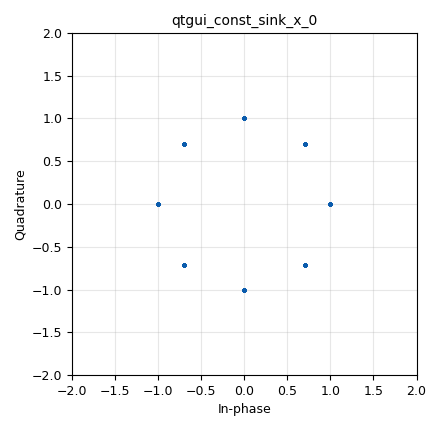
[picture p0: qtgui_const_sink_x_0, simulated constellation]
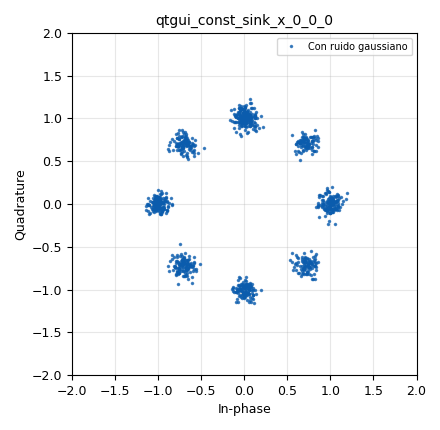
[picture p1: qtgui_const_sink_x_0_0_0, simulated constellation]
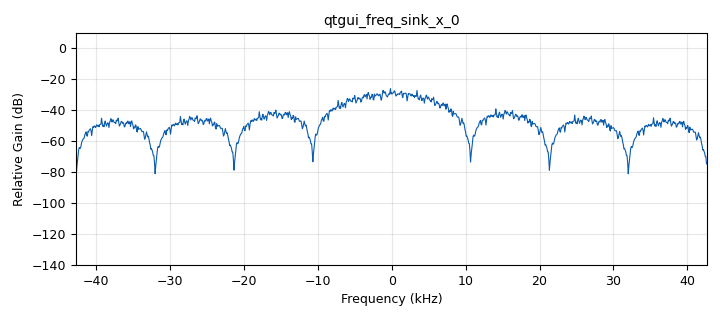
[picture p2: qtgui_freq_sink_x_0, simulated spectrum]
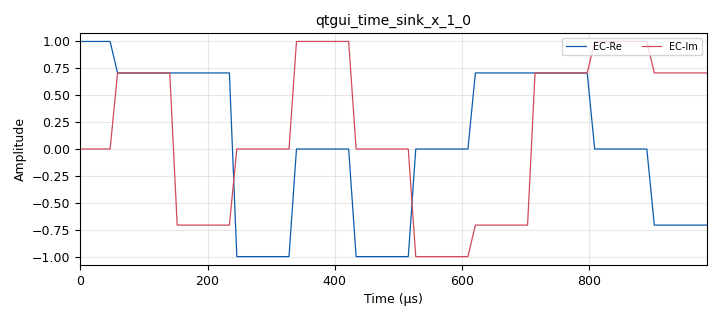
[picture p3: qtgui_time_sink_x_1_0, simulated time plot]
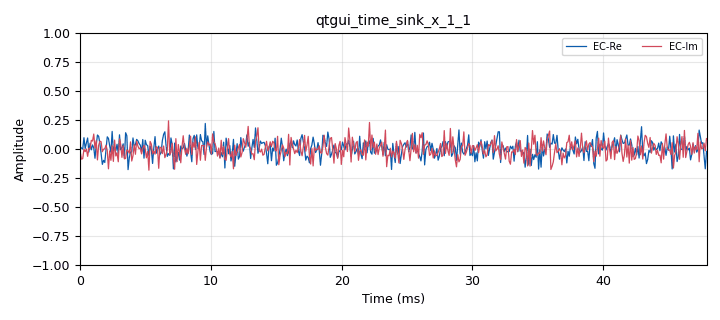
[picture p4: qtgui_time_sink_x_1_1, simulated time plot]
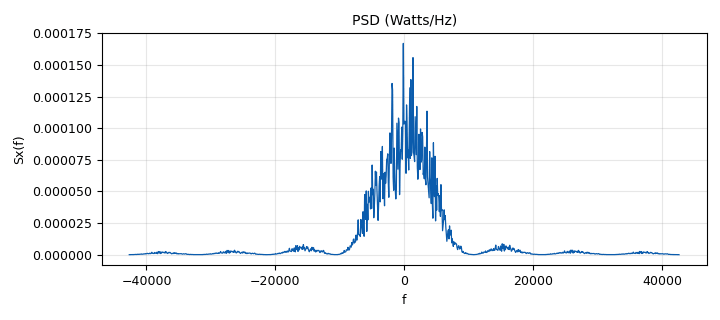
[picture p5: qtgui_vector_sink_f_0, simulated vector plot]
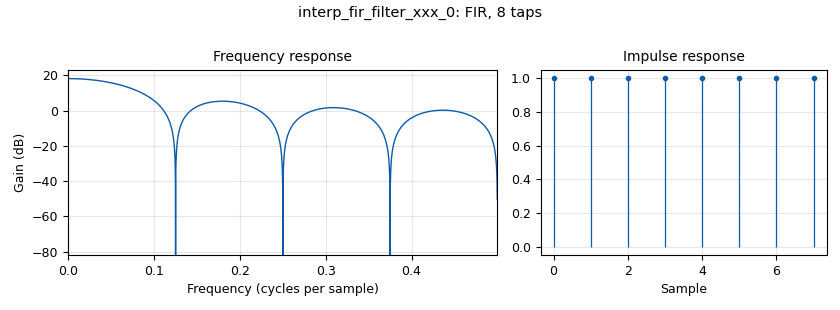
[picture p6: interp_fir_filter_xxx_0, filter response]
options:
  parameters:
    generate_options: qt_gui
    id: practica4
    output_language: python
    title: Not titled yet
  states: {}

blocks:
- name: M
  id: variable
  parameters:
    value: '8'
  states: {}
- name: N
  id: variable
  parameters:
    value: '1024'
  states: {}
- name: Nbps
  id: variable
  parameters:
    value: int(math.log(M,2))
  states: {}
- name: Rb
  id: variable
  parameters:
    value: '32000'
  states: {}
- name: Rs
  id: variable
  parameters:
    value: Rb/Nbps
  states: {}
- name: Sps
  id: variable
  parameters:
    value: len(h)
  states: {}
- name: h
  id: variable
  parameters:
    value: (1,1,1,1,1,1,1,1)
  states: {}
- name: samp_rate
  id: variable
  parameters:
    value: Rs*Sps
  states: {}
- name: analog_const_source_x_0
  id: analog_const_source_x
  parameters:
    const: '1.'
    type: float
  states: {}
- name: analog_noise_source_x_0
  id: analog_noise_source_x
  parameters:
    amp: '0.1'
    noise_type: analog.GR_GAUSSIAN
    seed: '0'
    type: complex
  states: {state: disabled}
- name: analog_noise_source_x_0_0
  id: analog_noise_source_x
  parameters:
    amp: '0.1'
    noise_type: analog.GR_GAUSSIAN
    seed: '0'
    type: complex
  states: {}
- name: analog_random_source_x_0
  id: analog_random_source_x
  parameters:
    max: '2'
    min: '0'
    num_samps: '1000'
    repeat: 'True'
    type: byte
  states: {}
- name: blocks_add_xx_0
  id: blocks_add_xx
  parameters:
    type: complex
  states: {state: disabled}
- name: blocks_add_xx_0_0
  id: blocks_add_xx
  parameters:
    type: complex
  states: {}
- name: blocks_char_to_float_0
  id: blocks_char_to_float
  parameters:
    scale: '1'
  states: {state: disabled}
- name: blocks_char_to_float_0_0
  id: blocks_char_to_float
  parameters:
    scale: '1'
  states: {state: disabled}
- name: blocks_char_to_float_1
  id: blocks_char_to_float
  parameters:
    scale: '1'
  states: {}
- name: blocks_complex_to_mag_squared_0
  id: blocks_complex_to_mag_squared
  parameters:
    vlen: N
  states: {}
- name: blocks_multiply_const_vxx_0
  id: blocks_multiply_const_vxx
  parameters:
    const: 2*math.pi/M
    type: float
  states: {}
- name: blocks_multiply_const_vxx_1
  id: blocks_multiply_const_vxx
  parameters:
    const: '[1/(N*samp_rate)]*N'
    type: float
    vlen: N
  states: {}
- name: blocks_null_sink_0
  id: blocks_null_sink
  parameters:
    type: complex
  states: {}
- name: blocks_repack_bits_bb_0
  id: blocks_repack_bits_bb
  parameters:
    endianness: gr.GR_LSB_FIRST
    k: '1'
    l: Nbps
  states: {}
- name: blocks_stream_to_vector_0
  id: blocks_stream_to_vector
  parameters:
    num_items: N
    type: complex
  states: {}
- name: epy_block_0
  id: epy_block
  parameters:
    _source_code: |
      """
      Embedded Python Blocks:

      Each time this file is saved, GRC will instantiate the first class it finds
      to get ports and parameters of your block. The arguments to __init__  will
      be the parameters. All of them are required to have default values!
      """

      import numpy as np
      from gnuradio import gr


      class blk(gr.sync_block):  # other base classes are basic_block, decim_block, interp_block
          """Embedded Python Block example - a simple multiply const"""

          def __init__(self, example_param=1.0):  # only default arguments here
              """Este bloque """
              gr.sync_block.__init__(
                  self,
                  name='VCO complex',   # will show up in GRC
                  in_sig=[np.float32, np.float32],
                  out_sig=[np.complex64]
              )
              # if an attribute with the same name as a parameter is found,
              # a callback is registered (properties work, too).
              self.example_param = example_param

          def work(self, input_items, output_items):
              Q = input_items[0]
              A = input_items[1]
              Sec = output_items[0]
              Sec[:] = A*np.exp(1.j*Q)
              return len(Sec)
    example_param: '1.0'
  states: {}
- name: epy_block_0_0
  id: epy_block
  parameters:
    N: N
    _source_code: |
      import numpy as np
      from gnuradio import gr


      class blk(gr.sync_block):  
          """vector averager. N is the lengh of the vector"""

          def __init__(self, N=1024):
              gr.sync_block.__init__(
                  self,
                  name='e_vec_averager_ff',   
                  in_sig=[(np.float32,N)],
                  out_sig=[(np.float32,N)]
              )
              self.N = N
              self.rows_counter=0
              self.sum=0

          def work(self, input_items, output_items):
              x=input_items[0]
              y=output_items[0]
              self.sum += np.sum(x, axis=0)
              self.rows_counter += len(x)
              y[:]=self.sum/self.rows_counter
              return len(output_items[0])
  states: {}
- name: fft_vxx_0
  id: fft_vxx
  parameters:
    fft_size: N
    forward: 'True'
    shift: 'True'
    type: complex
    window: '[1]*N'
  states: {}
- name: import_0
  id: import
  parameters:
    imports: import math
  states: {}
- name: interp_fir_filter_xxx_0
  id: interp_fir_filter_xxx
  parameters:
    interp: Sps
    taps: h
    type: ccc
  states: {}
- name: qtgui_const_sink_x_0
  id: qtgui_const_sink_x
  parameters:
    size: '1024'
    type: complex
  states: {}
- name: qtgui_const_sink_x_0_0
  id: qtgui_const_sink_x
  parameters:
    label1: Con ruido gaussiano
    size: '1024'
    type: complex
  states: {state: disabled}
- name: qtgui_const_sink_x_0_0_0
  id: qtgui_const_sink_x
  parameters:
    label1: Con ruido gaussiano
    size: '1024'
    type: complex
  states: {}
- name: qtgui_freq_sink_x_0
  id: qtgui_freq_sink_x
  parameters:
    average: '0.05'
    bw: samp_rate
    fc: '0'
    fftsize: '1024'
    type: complex
  states: {}
- name: qtgui_time_sink_x_0
  id: qtgui_time_sink_x
  parameters:
    label1: Binary
    marker1: '0'
    size: '32'
    srate: Rb
    stemplot: 'True'
    type: float
  states: {state: disabled}
- name: qtgui_time_sink_x_0_0
  id: qtgui_time_sink_x
  parameters:
    label1: M-PAM
    marker1: '0'
    size: int(32/Nbps)
    srate: Rs
    stemplot: 'True'
    type: float
  states: {state: disabled}
- name: qtgui_time_sink_x_0_0_0
  id: qtgui_time_sink_x
  parameters:
    label1: M-PAM mode
    marker1: '0'
    size: int(32/Nbps)
    srate: Rs
    stemplot: 'True'
    type: float
  states: {state: disabled}
- name: qtgui_time_sink_x_1
  id: qtgui_time_sink_x
  parameters:
    label1: EC-Re
    label2: EC-Im
    marker1: '0'
    marker2: '0'
    size: int(32/Nbps)
    srate: Rs
    stemplot: 'True'
    type: complex
    width2: '3'
  states: {state: disabled}
- name: qtgui_time_sink_x_1_0
  id: qtgui_time_sink_x
  parameters:
    label1: EC-Re
    label2: EC-Im
    size: int(32*Sps/Nbps)
    srate: samp_rate
    type: complex
  states: {}
- name: qtgui_time_sink_x_1_1
  id: qtgui_time_sink_x
  parameters:
    label1: EC-Re
    label2: EC-Im
    size: '512'
    srate: Rs
    type: complex
  states: {}
- name: qtgui_vector_sink_f_0
  id: qtgui_vector_sink_f
  parameters:
    autoscale: 'True'
    label1: PSD
    name: '"PSD (Watts/Hz)"'
    vlen: N
    x_axis_label: '"f"'
    x_start: '-samp_rate/2'
    x_step: samp_rate/N
    x_units: '"Hz"'
    y_axis_label: '"Sx(f)"'
    y_units: '"Watss/Hz"'
    ymax: 1/Rb
    ymin: '0'
  states: {}
- name: virtual_sink_0
  id: virtual_sink
  parameters: {}
  states: {}
- name: virtual_source_0
  id: virtual_source
  parameters: {}
  states: {}

connections:
- [analog_const_source_x_0, '0', epy_block_0, '1']
- [analog_noise_source_x_0, '0', blocks_add_xx_0, '0']
- [analog_noise_source_x_0_0, '0', blocks_add_xx_0_0, '0']
- [analog_noise_source_x_0_0, '0', qtgui_time_sink_x_1_1, '0']
- [analog_random_source_x_0, '0', blocks_char_to_float_0, '0']
- [analog_random_source_x_0, '0', blocks_repack_bits_bb_0, '0']
- [blocks_add_xx_0, '0', qtgui_const_sink_x_0_0, '0']
- [blocks_add_xx_0_0, '0', blocks_null_sink_0, '0']
- [blocks_add_xx_0_0, '0', qtgui_const_sink_x_0_0_0, '0']
- [blocks_char_to_float_0, '0', qtgui_time_sink_x_0, '0']
- [blocks_char_to_float_0_0, '0', qtgui_time_sink_x_0_0, '0']
- [blocks_char_to_float_1, '0', blocks_multiply_const_vxx_0, '0']
- [blocks_complex_to_mag_squared_0, '0', epy_block_0_0, '0']
- [blocks_multiply_const_vxx_0, '0', epy_block_0, '0']
- [blocks_multiply_const_vxx_0, '0', qtgui_time_sink_x_0_0_0, '0']
- [blocks_multiply_const_vxx_1, '0', qtgui_vector_sink_f_0, '0']
- [blocks_repack_bits_bb_0, '0', blocks_char_to_float_0_0, '0']
- [blocks_repack_bits_bb_0, '0', blocks_char_to_float_1, '0']
- [blocks_stream_to_vector_0, '0', fft_vxx_0, '0']
- [epy_block_0, '0', interp_fir_filter_xxx_0, '0']
- [epy_block_0, '0', qtgui_const_sink_x_0, '0']
- [epy_block_0, '0', qtgui_time_sink_x_1, '0']
- [epy_block_0_0, '0', blocks_multiply_const_vxx_1, '0']
- [fft_vxx_0, '0', blocks_complex_to_mag_squared_0, '0']
- [interp_fir_filter_xxx_0, '0', blocks_add_xx_0, '1']
- [interp_fir_filter_xxx_0, '0', blocks_add_xx_0_0, '1']
- [interp_fir_filter_xxx_0, '0', qtgui_freq_sink_x_0, '0']
- [interp_fir_filter_xxx_0, '0', qtgui_time_sink_x_1_0, '0']
- [interp_fir_filter_xxx_0, '0', virtual_sink_0, '0']
- [virtual_source_0, '0', blocks_stream_to_vector_0, '0']

metadata:
  file_format: 1
  grc_version: v3.10.11.0-89-ga17f69e7
